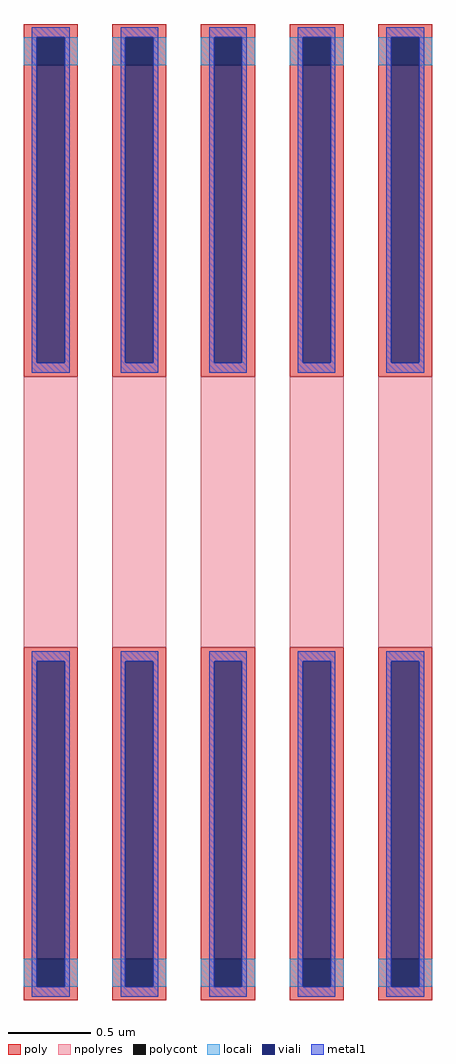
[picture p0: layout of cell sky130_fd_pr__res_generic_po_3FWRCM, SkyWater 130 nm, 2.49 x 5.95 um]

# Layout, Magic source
magic
tech sky130A
magscale 1 2
<< poly >>
rect -249 579 -183 595
rect -249 545 -233 579
rect -199 545 -183 579
rect -249 165 -183 545
rect -249 -545 -183 -165
rect -249 -579 -233 -545
rect -199 -579 -183 -545
rect -249 -595 -183 -579
rect -141 579 -75 595
rect -141 545 -125 579
rect -91 545 -75 579
rect -141 165 -75 545
rect -141 -545 -75 -165
rect -141 -579 -125 -545
rect -91 -579 -75 -545
rect -141 -595 -75 -579
rect -33 579 33 595
rect -33 545 -17 579
rect 17 545 33 579
rect -33 165 33 545
rect -33 -545 33 -165
rect -33 -579 -17 -545
rect 17 -579 33 -545
rect -33 -595 33 -579
rect 75 579 141 595
rect 75 545 91 579
rect 125 545 141 579
rect 75 165 141 545
rect 75 -545 141 -165
rect 75 -579 91 -545
rect 125 -579 141 -545
rect 75 -595 141 -579
rect 183 579 249 595
rect 183 545 199 579
rect 233 545 249 579
rect 183 165 249 545
rect 183 -545 249 -165
rect 183 -579 199 -545
rect 233 -579 249 -545
rect 183 -595 249 -579
<< polycont >>
rect -233 545 -199 579
rect -233 -579 -199 -545
rect -125 545 -91 579
rect -125 -579 -91 -545
rect -17 545 17 579
rect -17 -579 17 -545
rect 91 545 125 579
rect 91 -579 125 -545
rect 199 545 233 579
rect 199 -579 233 -545
<< npolyres >>
rect -249 -165 -183 165
rect -141 -165 -75 165
rect -33 -165 33 165
rect 75 -165 141 165
rect 183 -165 249 165
<< locali >>
rect -249 545 -233 579
rect -199 545 -183 579
rect -141 545 -125 579
rect -91 545 -75 579
rect -33 545 -17 579
rect 17 545 33 579
rect 75 545 91 579
rect 125 545 141 579
rect 183 545 199 579
rect 233 545 249 579
rect -249 -579 -233 -545
rect -199 -579 -183 -545
rect -141 -579 -125 -545
rect -91 -579 -75 -545
rect -33 -579 -17 -545
rect 17 -579 33 -545
rect 75 -579 91 -545
rect 125 -579 141 -545
rect 183 -579 199 -545
rect 233 -579 249 -545
<< viali >>
rect -233 545 -199 579
rect -125 545 -91 579
rect -17 545 17 579
rect 91 545 125 579
rect 199 545 233 579
rect -233 182 -199 545
rect -125 182 -91 545
rect -17 182 17 545
rect 91 182 125 545
rect 199 182 233 545
rect -233 -545 -199 -182
rect -125 -545 -91 -182
rect -17 -545 17 -182
rect 91 -545 125 -182
rect 199 -545 233 -182
rect -233 -579 -199 -545
rect -125 -579 -91 -545
rect -17 -579 17 -545
rect 91 -579 125 -545
rect 199 -579 233 -545
<< metal1 >>
rect -239 579 -193 591
rect -239 182 -233 579
rect -199 182 -193 579
rect -239 170 -193 182
rect -131 579 -85 591
rect -131 182 -125 579
rect -91 182 -85 579
rect -131 170 -85 182
rect -23 579 23 591
rect -23 182 -17 579
rect 17 182 23 579
rect -23 170 23 182
rect 85 579 131 591
rect 85 182 91 579
rect 125 182 131 579
rect 85 170 131 182
rect 193 579 239 591
rect 193 182 199 579
rect 233 182 239 579
rect 193 170 239 182
rect -239 -182 -193 -170
rect -239 -579 -233 -182
rect -199 -579 -193 -182
rect -239 -591 -193 -579
rect -131 -182 -85 -170
rect -131 -579 -125 -182
rect -91 -579 -85 -182
rect -131 -591 -85 -579
rect -23 -182 23 -170
rect -23 -579 -17 -182
rect 17 -579 23 -182
rect -23 -591 23 -579
rect 85 -182 131 -170
rect 85 -579 91 -182
rect 125 -579 131 -182
rect 85 -591 131 -579
rect 193 -182 239 -170
rect 193 -579 199 -182
rect 233 -579 239 -182
rect 193 -591 239 -579
<< properties >>
string gencell sky130_fd_pr__res_generic_po
string library sky130
string parameters w 0.33 l 1.65 m 1 nx 5 wmin 0.330 lmin 1.650 rho 48.2 val 241.0 dummy 0 dw 0.0 term 0.0 sterm 0.0 caplen 0.4 snake 0 guard 0 glc 1 grc 1 gtc 1 gbc 1 roverlap 0 endcov 100 full_metal 1 hv_guard 0 n_guard 0 vias 1 viagb 0 viagt 0 viagl 0 viagr 0
<< end >>
